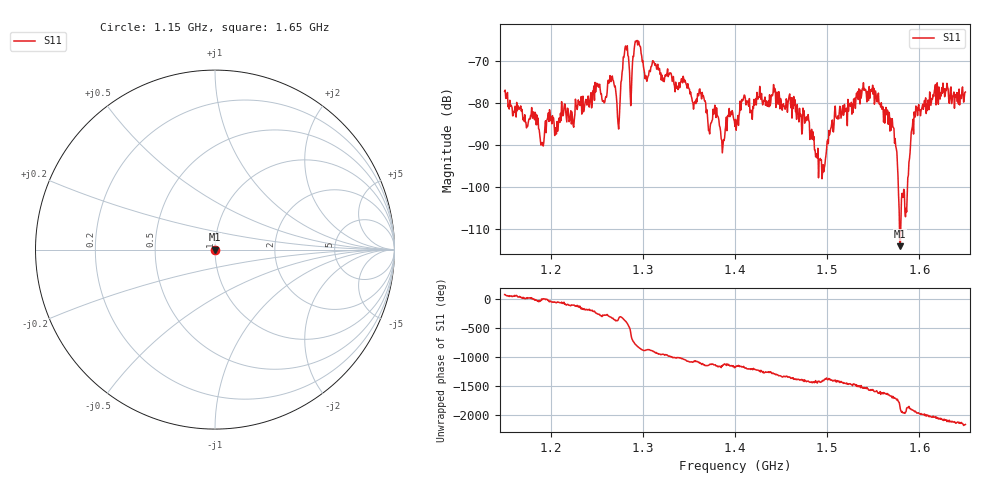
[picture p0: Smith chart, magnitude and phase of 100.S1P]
! C:\Users\rflab\Downloads\Lab5_KD_ZW\Q2\100.S1P
! Touchstone 1.1 file saved by VNA.EXE V1.65 (www.ke5fx.com/gpib/readme.htm)
! 11/12/2024 1:20:00 AM
!  Source: HEWLETT PACKARD,8753D,0,6.14
!  Min freq: 1.150000E+009 Hz
!  Max freq: 1.650000E+009 Hz
!  Points: 801
!  Params: S21
# GHZ S RI R 50
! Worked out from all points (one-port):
!   801 points, 1.15 GHz to 1.65 GHz, reference 50 ohm
!   lowest |S11| = -114.0 dB at 1.579 GHz (marker M1), VSWR 1.00, Z = 50 - j0.0002 ohm
!   |S11| at or under -10 dB: start of sweep to end of sweep
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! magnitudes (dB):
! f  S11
! 1.15 GHz  -77.1
! 1.156 GHz  -80.7
! 1.212 GHz  -82.4
! 1.242 GHz  -79.5
! 1.251 GHz  -75.9
! 1.258 GHz  -79.9
! 1.265 GHz  -74.7
! 1.273 GHz  -84.8
! 1.275 GHz  -80.9
! 1.281 GHz  -66.8
! 1.288 GHz  -77.5
! 1.294 GHz  -65.1
! 1.304 GHz  -74.2
! 1.312 GHz  -70.1
! 1.337 GHz  -76.4
! 1.344 GHz  -74.2
! 1.356 GHz  -80.0
! 1.362 GHz  -76.6
! 1.4 GHz  -85.5
! 1.436 GHz  -79.4
! 1.441 GHz  -77.6
! 1.462 GHz  -78.7
! 1.525 GHz  -80.6
! 1.54 GHz  -76.9
! 1.579 GHz  -114.0
! 1.587 GHz  -97.7
! 1.628 GHz  -77.9
! 1.65 GHz  -77.3
